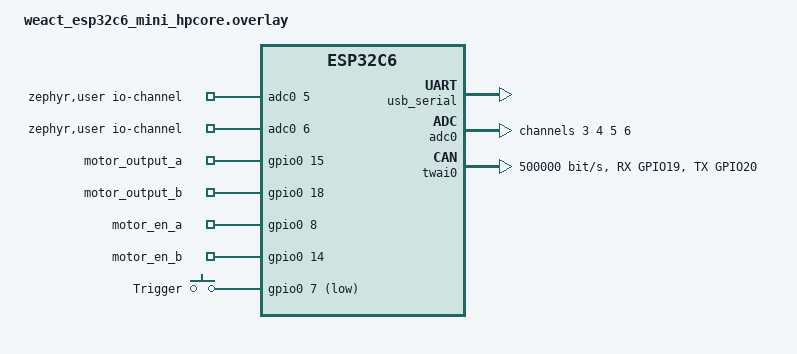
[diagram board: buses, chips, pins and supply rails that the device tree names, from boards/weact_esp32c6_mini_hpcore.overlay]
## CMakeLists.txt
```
# SPDX-License-Identifier: Apache-2.0

cmake_minimum_required(VERSION 3.20.0)

find_package(Zephyr REQUIRED HINTS $ENV{ZEPHYR_BASE})

project(firmware)

# Collect all .src files recursively
file(GLOB_RECURSE app_sources src/*)

target_sources(app PRIVATE ${app_sources})
```

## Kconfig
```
# Private config options for can sample app

# Copyright (c) 2018 Alexander Wachter
# SPDX-License-Identifier: Apache-2.0

mainmenu "Controller Area Network sample application"

config LOOPBACK_MODE
	bool "Loopback LOOPBACK_MODE"
	default y
	help
	  Set the controller to loopback mode.
	  This allows testing without a second board.

source "Kconfig.zephyr"
```

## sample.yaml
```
sample:
  name: CAN driver counter sample
tests:
  sample.drivers.can.counter:
    tags: can
    depends_on: can
    integration_platforms:
      - native_sim
    filter: dt_chosen_enabled("zephyr,canbus") and not dt_compat_enabled("kvaser,pcican")
      and not dt_compat_enabled("infineon,xmc4xxx-can-node")
    harness: console
    harness_config:
      type: one_line
      regex:
        - "Counter received: (.*)"
```

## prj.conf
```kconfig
CONFIG_GPIO=y
CONFIG_INPUT=y
# CONFIG_GPIO_KEYS=y

CONFIG_ADC=y
CONFIG_ADC_STREAM=y

CONFIG_CAN=y
CONFIG_CAN_INIT_PRIORITY=80
CONFIG_CAN_STATS=y
CONFIG_CAN_SHELL=y
CONFIG_CAN_LOG_LEVEL_DBG=y

CONFIG_LOG=y

# Added automatically by Workbench for Zephyr
#--- DEBUG PRESET - BEGIN ---#
# Set to -Og
CONFIG_DEBUG_OPTIMIZATIONS=y
# Thread awareness support
CONFIG_DEBUG_THREAD_INFO=y
# Generate stack usage per-function
CONFIG_STACK_USAGE=y

# Other options in case not set by default
CONFIG_BUILD_OUTPUT_HEX=y
CONFIG_BUILD_OUTPUT_META=y
CONFIG_OUTPUT_SYMBOLS=y
CONFIG_OUTPUT_STAT=y
CONFIG_OUTPUT_DISASSEMBLY=y
CONFIG_OUTPUT_PRINT_MEMORY_USAGE=y
#--- DEBUG PRESET - END ---#

CONFIG_USB_DEVICE_STACK=y
CONFIG_USB_CDC_ACM=y

CONFIG_POLL=y



CONFIG_DEVICE_SHELL=y
CONFIG_SHELL=y
CONFIG_STATS=y

CONFIG_STATS_NAMES=y
CONFIG_STATS_SHELL=y

CONFIG_PWM=y

CONFIG_USB_DEVICE_INITIALIZE_AT_BOOT=y
CONFIG_USB_CDC_ACM=y
CONFIG_LOG_BUFFER_SIZE=1024
```

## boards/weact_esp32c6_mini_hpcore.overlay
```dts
#include <zephyr/dt-bindings/pinctrl/esp32c6-pinctrl.h>
#include <zephyr/dt-bindings/input/input-event-codes.h>
#include <zephyr/dt-bindings/pwm/pwm.h>

/ {
    aliases {
        motor = &motor0;
		motor-output-a = &motor_output_a;
		motor-output-b = &motor_output_b;
		motor-en-a = &motor_en_a;
		motor-en-b = &motor_en_b;
    };
    
    chosen {
        zephyr,console = &usb_serial;
        zephyr,shell-uart = &usb_serial;
    };

    zephyr,user {
        io-channels = <&adc0 5>, <&adc0 6>;
    };

    // TODO: motors (pwm attempt) isn't working properly.
    motors {
        // compatible = "pwm-leds";
        status= "okay";
        pinctrl-0 = <&mcpwm0_default>;
        pinctrl-names = "default";

        motor0: motor0 {
            pwms = <&mcpwm0 0 0 PWM_POLARITY_NORMAL>;
                //    <&mcpwm0 1 PWM_MSEC(20) PWM_POLARITY_NORMAL>;
        };
    };

    h-bridge {
		compatible = "gpio-leds";

        // GP15 -> purple wire -> R_{PWM}
		motor_output_a: motor_output_a {
			gpios = <&gpio0 15 GPIO_ACTIVE_HIGH>;
		};

        // GP18 -> brown wire -> L_{PWM}
        motor_output_b: motor_output_b {
			gpios = <&gpio0 18 GPIO_ACTIVE_HIGH>;
		};

        // GP8 -> green wire -> R_{EN}
		motor_en_a: motor_en_a {
			gpios = <&gpio0 8 GPIO_ACTIVE_HIGH>;
		};

        // GP14 -> blue wire -> L_{EN}
        motor_en_b: motor_en_b {
			gpios = <&gpio0 14 GPIO_ACTIVE_HIGH>;
		};
	};

    buttons {
        compatible = "gpio-keys";

        trigger_button: trigger_button {
            gpios = <&gpio0 7 (GPIO_PULL_UP | GPIO_ACTIVE_LOW)>;
            label = "Trigger";
            zephyr,code = <INPUT_KEY_ENTER>;
        };
    };
};

&pinctrl {
    twai0_default: twai0_default {
        group1 {
            pinmux =
               <TWAI0_RX_GPIO19>,
               //<ESP32_PINMUX(19, ESP_TWAI0_RX, ESP_NOSIG)>,
               <TWAI0_TX_GPIO20>;
               //<ESP32_PINMUX(20, ESP_NOSIG, ESP_TWAI0_TX)>; // TODO: figure out why esp32c6-pinctrl.h isn't being included properly
        };
    };

    mcpwm0_default: mcpwm0_default {
        group1 {
            pinmux = <MCPWM0_OUT0A_GPIO0>;
            // pinmux = <MCPWM0_OUT0A_GPIO18>, // maps to mpwm0 0
            //          <MCPWM0_OUT0B_GPIO19>;  // maps to mpwm0 1
            output-enable;
        };
    };
};

&usb_serial {
    status = "okay";
};

&adc0 {
    status = "okay";
    #address-cells = <1>;
	#size-cells = <0>;
    compatible = "espressif,esp32-adc";
    channel@3 {
        reg = <3>;
        zephyr,gain = "ADC_GAIN_1_4"; 
        zephyr,reference = "ADC_REF_INTERNAL";
        zephyr,vref-mv = <1100>;
        zephyr,acquisition-time = <ADC_ACQ_TIME_DEFAULT>;
        zephyr,resolution = <12>;
	};
    channel@4 {
        reg = <4>;
        zephyr,gain = "ADC_GAIN_1_4";
        zephyr,reference = "ADC_REF_INTERNAL";
        zephyr,vref-mv = <1100>;
        zephyr,acquisition-time = <ADC_ACQ_TIME_DEFAULT>;
        zephyr,resolution = <12>;
	};
    channel@5 {
        reg = <5>;
        zephyr,gain = "ADC_GAIN_1_4"; 
        zephyr,reference = "ADC_REF_INTERNAL";
        zephyr,vref-mv = <1100>;
        zephyr,acquisition-time = <ADC_ACQ_TIME_DEFAULT>;
        zephyr,resolution = <12>;
	};
    channel@6 {
        reg = <6>;
        zephyr,gain = "ADC_GAIN_1_4";
        zephyr,reference = "ADC_REF_INTERNAL";
        zephyr,vref-mv = <1100>;
        zephyr,acquisition-time = <ADC_ACQ_TIME_DEFAULT>;
        zephyr,resolution = <12>;
	};
};

&twai0 {
    status = "okay";
    pinctrl-0 = <&twai0_default>;
    pinctrl-names = "default";
    bitrate = <500000>;
};

&mcpwm0 {
    // status = "okay";
    #address-cells = <1>;
    #size-cells = <0>;
    #pinctrl-names = "default";
    prescale = <0>; // fclk = 80MHz, pwm_clk = fclk / (prescale + 1) = 5MHz
    prescale-timer0 = <0>;
    prescale-timer1 = <0>;
    prescale-timer2 = <0>;
};

&gpio0 {
	status = "okay";
};
```

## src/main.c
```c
/*
 * Copyright (c) 2020 Libre Solar Technologies GmbH
 *
 * SPDX-License-Identifier: Apache-2.0
 */

#include <inttypes.h>
#include <stddef.h>
#include <stdint.h>

#include <zephyr/sys/byteorder.h>
#include <zephyr/device.h>
#include <zephyr/kernel.h>
#include <zephyr/devicetree.h>
#include <zephyr/sys/printk.h>
#include <zephyr/sys/util.h>
#include <zephyr/drivers/can.h>
// #include <zephyr/drivers/gpio.h>
// #include <zephyr/drivers/adc.h>
// #include <zephyr/drivers/pwm.h>
#include <zephyr/logging/log.h>

// #include <zephyr/input/input.h>

#include "joystick.h"
#include "lift.h"
#include "vesc.h"

LOG_MODULE_REGISTER(main, LOG_LEVEL_INF);


#define DT_SPEC_AND_COMMA_FOR_INPUTS(node_id, prop, idx) \
	COND_CODE_1(DT_PHA_HAS_CELL_AT_IDX(node_id, prop, idx, input), \
		    (ADC_DT_SPEC_GET_BY_IDX(node_id, idx),), ())


#define RX_THREAD_STACK_SIZE 512
#define RX_THREAD_PRIORITY 2
#define STATE_POLL_THREAD_STACK_SIZE 512
#define STATE_POLL_THREAD_PRIORITY 2
#define LED_MSG_ID 0x10
#define COUNTER_MSG_ID 0x12345
#define SET_LED 1
#define RESET_LED 0
#define SLEEP_TIME K_MSEC(250)

// K_THREAD_STACK_DEFINE(rx_thread_stack, RX_THREAD_STACK_SIZE);
// K_THREAD_STACK_DEFINE(poll_state_stack, STATE_POLL_THREAD_STACK_SIZE);

const struct device *const can_dev = DEVICE_DT_GET(DT_CHOSEN(zephyr_canbus));

// static const struct pwm_dt_spec pwm_led0 = PWM_DT_SPEC_GET(DT_ALIAS(motor));
// static const struct pwm_dt_spec pwm_led0 = PWM_DT_SPEC_GET(DT_ALIAS(bridge1));
// static const struct gpio_dt_spec led = GPIO_DT_SPEC_GET(LED0_NODE, gpios);

struct k_thread rx_thread_data;
struct k_thread poll_state_thread_data;
struct k_work_poll change_led_work;
struct k_work state_change_work;
enum can_state current_state;
struct can_bus_err_cnt current_err_cnt;

CAN_MSGQ_DEFINE(change_led_msgq, 2);
CAN_MSGQ_DEFINE(counter_msgq, 2);

static struct k_poll_event change_led_events[1] = {
	K_POLL_EVENT_STATIC_INITIALIZER(K_POLL_TYPE_MSGQ_DATA_AVAILABLE,
					K_POLL_MODE_NOTIFY_ONLY,
					&change_led_msgq, 0)
};

void tx_irq_callback(const struct device *dev, int error, void *arg)
{
	char *sender = (char *)arg;

	ARG_UNUSED(dev);

	if (error != 0) {
		printf("Callback! error-code: %d\nSender: %s\n",
		       error, sender);
	}
}

void rx_thread(void *arg1, void *arg2, void *arg3)
{
	ARG_UNUSED(arg1);
	ARG_UNUSED(arg2);
	ARG_UNUSED(arg3);
	const struct can_filter filter = {
		.flags = CAN_FILTER_IDE,
		.id = COUNTER_MSG_ID,
		.mask = CAN_EXT_ID_MASK
	};
	struct can_frame frame;
	int filter_id;

	filter_id = can_add_rx_filter_msgq(can_dev, &counter_msgq, &filter);
	printf("Counter filter id: %d\n", filter_id);

	while (1)
	{
		k_msgq_get(&counter_msgq, &frame, K_FOREVER);

		if (IS_ENABLED(CONFIG_CAN_ACCEPT_RTR) && (frame.flags & CAN_FRAME_RTR) != 0U) {
			continue;
		}

		if (frame.dlc != 2U) {
			printf("Wrong data length: %u\n", frame.dlc);
			continue;
		}

		printf("Counter received: %u\n", sys_be16_to_cpu(UNALIGNED_GET((uint16_t *)&frame.data)));
	}
}

/*
void change_led_work_handler(struct k_work *work)
{
	struct can_frame frame;
	int ret;

	while (k_msgq_get(&change_led_msgq, &frame, K_NO_WAIT) == 0) {
		if (IS_ENABLED(CONFIG_CAN_ACCEPT_RTR) && (frame.flags & CAN_FRAME_RTR) != 0U) {
			continue;
		}

		if (led.port == NULL) {
			printf("LED %s\n", frame.data[0] == SET_LED ? "ON" : "OFF");
		} else {
			gpio_pin_set(led.port, led.pin, frame.data[0] == SET_LED ? 1 : 0);
		}
	}

	ret = k_work_poll_submit(&change_led_work, change_led_events,
				 ARRAY_SIZE(change_led_events), K_FOREVER);
	if (ret != 0) {
		printf("Failed to resubmit msgq polling: %d", ret);
	}
}
*/

char *state_to_str(enum can_state state)
{
	switch (state) {
	case CAN_STATE_ERROR_ACTIVE:
		return "error-active";
	case CAN_STATE_ERROR_WARNING:
		return "error-warning";
	case CAN_STATE_ERROR_PASSIVE:
		return "error-passive";
	case CAN_STATE_BUS_OFF:
		return "bus-off";
	case CAN_STATE_STOPPED:
		return "stopped";
	default:
		return "unknown";
	}
}

void poll_state_thread(void *unused1, void *unused2, void *unused3)
{
	struct can_bus_err_cnt err_cnt = {0, 0};
	struct can_bus_err_cnt err_cnt_prev = {0, 0};
	enum can_state state_prev = CAN_STATE_ERROR_ACTIVE;
	enum can_state state;
	int err;

	while (1) {
		err = can_get_state(can_dev, &state, &err_cnt);
		if (err != 0) {
			printf("Failed to get CAN controller state: %d", err);
			k_sleep(K_MSEC(100));
			continue;
		}

		if (err_cnt.tx_err_cnt != err_cnt_prev.tx_err_cnt ||
		    err_cnt.rx_err_cnt != err_cnt_prev.rx_err_cnt ||
		    state_prev != state) {

			err_cnt_prev.tx_err_cnt = err_cnt.tx_err_cnt;
			err_cnt_prev.rx_err_cnt = err_cnt.rx_err_cnt;
			state_prev = state;
			printf("state: %s\n"
			       "rx error count: %d\n"
			       "tx error count: %d\n",
			       state_to_str(state),
			       err_cnt.rx_err_cnt, err_cnt.tx_err_cnt);
		} else {
			k_sleep(K_MSEC(100));
		}
	}
}

void state_change_work_handler(struct k_work *work)
{
	printf("State Change ISR\nstate: %s\n"
	       "rx error count: %d\n"
	       "tx error count: %d\n",
		state_to_str(current_state),
		current_err_cnt.rx_err_cnt, current_err_cnt.tx_err_cnt);
}

void state_change_callback(const struct device *dev, enum can_state state, struct can_bus_err_cnt err_cnt, void *user_data)
	{
	struct k_work *work = (struct k_work *)user_data;

	ARG_UNUSED(dev);

	current_state = state;
	current_err_cnt = err_cnt;
	k_work_submit(work);
}

void joystick_pressed_cb() {
	static bool state = 0;
	state = !state;
	state ? lift_rise() : lift_lower();
}

void joystick_released_cb() {
	lift_stop();
}

int main(void) {
	int err, ret;
	uint32_t count = 0;

	k_sleep(K_SECONDS(5U));

	lift_init();
	joystick_init(joystick_pressed_cb, joystick_released_cb);

	vesc_init(can_dev);

	while(1)
	{
		int16_t x = 0, y = 0;
		joystick_get_position(&x, &y);
		printk("Joystick position: x = %d mV, y = %d mV\n", x, y);

		k_sleep(K_MSEC(10U));
	}
	return 0; // this should never be reached
}


/*
int main1(void)
{
	const struct can_filter change_led_filter = {
		.flags = 0U,
		.id = LED_MSG_ID,
		.mask = CAN_STD_ID_MASK
	};
	struct can_frame change_led_frame = {
		.flags = 0,
		.id = LED_MSG_ID,
		.dlc = 1
	};
	struct can_frame counter_frame = {
		.flags = CAN_FRAME_IDE,
		.id = COUNTER_MSG_ID,
		.dlc = 2
	};
	uint8_t toggle = 1;
	uint16_t counter = 0;
	k_tid_t rx_tid, get_state_tid;
	int ret;

	if (!device_is_ready(can_dev)) {
		printf("CAN: Device %s not ready.\n", can_dev->name);
		return 0;
	}

#ifdef CONFIG_LOOPBACK_MODE
	ret = can_set_mode(can_dev, CAN_MODE_LOOPBACK);
	if (ret != 0) {
		printf("Error setting CAN mode [%d]", ret);
		return 0;
	}
#endif
	ret = can_start(can_dev);
	if (ret != 0) {
		printf("Error starting CAN controller [%d]", ret);
		return 0;
	}

	if (led.port != NULL) {
		if (!gpio_is_ready_dt(&led)) {
			printf("LED: Device %s not ready.\n",
			       led.port->name);
			return 0;
		}
		ret = gpio_pin_configure_dt(&led, GPIO_OUTPUT_HIGH);
		if (ret < 0) {
			printf("Error setting LED pin to output mode [%d]",
			       ret);
			// led.port = NULL;
		}
	}

	k_work_init(&state_change_work, state_change_work_handler);
	k_work_poll_init(&change_led_work, change_led_work_handler);

	can_set_bitrate(can_dev, 500000);

	ret = can_add_rx_filter_msgq(can_dev, &change_led_msgq, &change_led_filter);
	if (ret == -ENOSPC) {
		printf("Error, no filter available!\n");
		return 0;
	}

	printf("Change LED filter ID: %d\n", ret);

	ret = k_work_poll_submit(&change_led_work, change_led_events,
				 ARRAY_SIZE(change_led_events), K_FOREVER);
	if (ret != 0) {
		printf("Failed to submit msgq polling: %d", ret);
		return 0;
	}

	rx_tid = k_thread_create(&rx_thread_data, rx_thread_stack,
				 K_THREAD_STACK_SIZEOF(rx_thread_stack),
				 rx_thread, NULL, NULL, NULL,
				 RX_THREAD_PRIORITY, 0, K_NO_WAIT);
	if (!rx_tid) {
		printf("ERROR spawning rx thread\n");
	}

	get_state_tid = k_thread_create(&poll_state_thread_data,
					poll_state_stack,
					K_THREAD_STACK_SIZEOF(poll_state_stack),
					poll_state_thread, NULL, NULL, NULL,
					STATE_POLL_THREAD_PRIORITY, 0,
					K_NO_WAIT);
	if (!get_state_tid) {
		printf("ERROR spawning poll_state_thread\n");
	}

	can_set_state_change_callback(can_dev, state_change_callback, &state_change_work);

	printf("Finished init.\n");

	while (1) {
		change_led_frame.data[0] = toggle++ & 0x01 ? SET_LED : RESET_LED;
		// This sending call is none blocking. 
		can_send(can_dev, &change_led_frame, K_FOREVER,
			 tx_irq_callback,
			 "LED change");
		k_sleep(SLEEP_TIME);

		UNALIGNED_PUT(sys_cpu_to_be16(counter),
			      (uint16_t *)&counter_frame.data[0]);
		counter++;
		// This sending call is blocking until the message is sent.
		can_send(can_dev, &counter_frame, K_MSEC(100), NULL, NULL);
		k_sleep(SLEEP_TIME);
	}
}
*/
```

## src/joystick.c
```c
#include "joystick.h"
#include <zephyr/drivers/adc.h>
#include <zephyr/logging/log.h>
#include <zephyr/input/input.h>

LOG_MODULE_REGISTER(joystick, LOG_LEVEL_INF);

#if !DT_NODE_EXISTS(DT_PATH(zephyr_user)) || \
	!DT_NODE_HAS_PROP(DT_PATH(zephyr_user), io_channels)
#error "No suitable devicetree overlay specified"
#endif


/* Data of ADC io-channels specified in devicetree. */
// TODO: this FOREACH doesn't wokr as expected for some reason.
// not nessesary for this codebase since the joystick is expected to have exactly 2 axis.
// static const struct adc_dt_spec adc_channels[] = {
// 	DT_FOREACH_PROP_ELEM(DT_PATH(zephyr_user), io_channels, DT_SPEC_AND_COMMA_FOR_INPUTS)
// };
static const struct adc_dt_spec adc_channels[] = {
    ADC_DT_SPEC_GET_BY_IDX(DT_PATH(zephyr_user), 0),
    ADC_DT_SPEC_GET_BY_IDX(DT_PATH(zephyr_user), 1),
};

uint32_t buf = 0;
struct adc_sequence sequence = {
    .buffer = &buf,
    /* buffer size in bytes, not number of samples */
    .buffer_size = sizeof(buf),
#if CONFIG_SAMPLE_ADC_CALIBRATE_REQUIRED
		.calibrate = true,
#endif
};

void (*_joystick_pressed_cb)();
void (*_joystick_released_cb)();

// 
static void joystick_input_keys_cb(struct input_event *evt, void *user_data)
{
    ARG_UNUSED(user_data);

    if (evt->code == INPUT_KEY_ENTER) {
        if (evt->value)
        {
            _joystick_pressed_cb();
        }
        else
        {
            _joystick_released_cb();
        }
    }
}

INPUT_CALLBACK_DEFINE(NULL, joystick_input_keys_cb, NULL);

// returns 0 on success, 
int joystick_init(void (*joystick_pressed_cb)(void), void (*joystick_released_cb)(void))
{
    _joystick_pressed_cb = joystick_pressed_cb;
    _joystick_released_cb = joystick_released_cb;

    int err = 0;
    
	for (size_t i = 0U; i < ARRAY_SIZE(adc_channels); i++)
    {
        err = adc_is_ready_dt(&adc_channels[i]);
		if (err)
        {
			LOG_ERR("ADC controller device %s not working\n", adc_channels[i].dev->name);
            return err;
		}

		err = adc_channel_setup_dt(&adc_channels[i]);
		if (err < 0)
        {
			LOG_ERR("Could not setup channel #%d (%d)\n", i, err);
            return err;
		}
	}
	return 0;
}

int joystick_get_position(int16_t *x, int16_t *y)
{
	for (size_t i = 0U; i < ARRAY_SIZE(adc_channels); i++)
    {
        int32_t val_mv = 0;
        int err = 0;
    
        LOG_INF("- %s, channel %d: ", adc_channels[i].dev->name, adc_channels[i].channel_id);

        (void)adc_sequence_init_dt(&adc_channels[i], &sequence);

        err = adc_read_dt(&adc_channels[i], &sequence);
        if (err < 0) {
            LOG_ERR("Could not read (%d)", err);
            continue;
        }

        if (adc_channels[i].channel_cfg.differential) {
            val_mv = (int32_t)((int16_t)buf);
        } else {
            val_mv = (int32_t)buf;
        }
        
        LOG_INF("%"PRId32, val_mv);

        err = adc_raw_to_millivolts_dt(&adc_channels[i], &val_mv);
        /* conversion to mV may not be supported, skip if not */
        if (err < 0) {
            LOG_ERR(" (value in mV not available)");
        } else {
            LOG_INF(" = %"PRId32" mV", val_mv);
        }

        if(i == 0) *x = val_mv;
        else if(i == 1) *y = val_mv;
        else return 0;
    }
    return 0;
}
```

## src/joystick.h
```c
#pragma once
#include <stdint.h>

int joystick_init(void (*joystick_pressed_cb)(), void (*joystick_released_cb)());

int joystick_get_position(int16_t *x, int16_t *y);
```

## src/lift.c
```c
#include "lift.h"
#include <zephyr/drivers/gpio.h>
#include <zephyr/logging/log.h>
LOG_MODULE_REGISTER(lift, LOG_LEVEL_INF);

static const struct gpio_dt_spec motor_output_a = GPIO_DT_SPEC_GET(DT_ALIAS(motor_output_a), gpios);
static const struct gpio_dt_spec motor_output_b = GPIO_DT_SPEC_GET(DT_ALIAS(motor_output_b), gpios);
static const struct gpio_dt_spec motor_en_a = GPIO_DT_SPEC_GET(DT_ALIAS(motor_en_a), gpios);
static const struct gpio_dt_spec motor_en_b = GPIO_DT_SPEC_GET(DT_ALIAS(motor_en_b), gpios);

int _gpio_setup(const struct gpio_dt_spec * gpio, gpio_flags_t extra_fags)
{
	int ret;
	ret = gpio_is_ready_dt(gpio);
	if (ret < 0)
	{
		return ret;
	}
	
	gpio_pin_configure_dt(gpio, extra_fags);
	return 0; // SUCCess
}

int lift_init()
{
	int ret;
	_gpio_setup(&motor_output_a, GPIO_OUTPUT_INACTIVE);
	_gpio_setup(&motor_output_b, GPIO_OUTPUT_INACTIVE);
	_gpio_setup(&motor_en_a, GPIO_OUTPUT_ACTIVE);
	_gpio_setup(&motor_en_b, GPIO_OUTPUT_ACTIVE);
    return 0;
}

int lift_rise()
{
	int ret = 0;
	ret = gpio_pin_set_dt(&motor_output_a, 1);
	if (ret < 0) {
		return ret;
	}
	ret = gpio_pin_set_dt(&motor_output_b, 0);
	if (ret < 0) {
		return ret;
	}
	LOG_INF("Lift rising\n");
	return 0;
}

int lift_lower()
{
	int ret = 0;
	gpio_pin_set_dt(&motor_output_a, 0);
	if (ret < 0) {
		return ret;
	}
	gpio_pin_set_dt(&motor_output_b, 1);
	if (ret < 0) {
		return ret;
	}
	LOG_INF("Lift lowering\n");
	return 0;
}

int lift_stop()
{
	int ret = 0;
	ret = gpio_pin_set_dt(&motor_output_a, 0);
	if (ret < 0) {
		return ret;
	}
	ret = gpio_pin_set_dt(&motor_output_b, 0);
	if (ret < 0) {
		return ret;
	}
	LOG_INF("Lift stopped\n");
	return 0;
}
```

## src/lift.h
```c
#pragma once

int lift_init();
int lift_rise();
int lift_lower();
int lift_stop();
```

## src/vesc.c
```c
#include <stddef.h>
#include <zephyr/drivers/can.h>
#include <zephyr/logging/log.h>
#include "vesc.h"

LOG_MODULE_REGISTER(vesc, LOG_LEVEL_INF);

const struct device * _can_dev = NULL;

int vesc_init(const struct device * can_dev) {
    _can_dev = can_dev;

    if (!device_is_ready(_can_dev)) {
		printf("CAN: Device %s not ready.\n", _can_dev->name);
		return 0;
	}

	int ret = can_start(_can_dev);
	if (ret != 0) {
		printf("Error starting CAN controller [%d]", ret);
		return 0;
	}
}

// Implementation for sending extended ID CAN-frames
void can_transmit_eid(uint32_t id, const uint8_t *data, uint8_t len) {

    can_mode_t saved_can_mode = can_get_mode(_can_dev);

    can_set_mode(_can_dev, CAN_MODE_NORMAL | CAN_MODE_ONE_SHOT);

    struct can_frame frame = {
        .flags = CAN_FRAME_IDE,
        .id = 0x123,
        .dlc = len,
        .data = (unsigned char) &data
    };

    int ret = can_send(_can_dev, &frame, K_NO_WAIT, NULL, NULL);

    if (ret != 0)
    {
        LOG_ERR("Sending failed [%d]", ret);
    }

    can_set_mode(_can_dev, saved_can_mode);
}

typedef enum {
	CAN_PACKET_SET_DUTY = 0,
	CAN_PACKET_SET_CURRENT,
	CAN_PACKET_SET_CURRENT_BRAKE,
	CAN_PACKET_SET_RPM,
	CAN_PACKET_SET_POS,
	CAN_PACKET_SET_CURRENT_REL = 10,
	CAN_PACKET_SET_CURRENT_BRAKE_REL,
	CAN_PACKET_SET_CURRENT_HANDBRAKE,
	CAN_PACKET_SET_CURRENT_HANDBRAKE_REL,
	CAN_PACKET_MAKE_ENUM_32_BITS = 0xFFFFFFFF,
} CAN_PACKET_ID;

void buffer_append_int16(uint8_t* buffer, int16_t number, int32_t *index) {
	buffer[(*index)++] = number >> 8;
	buffer[(*index)++] = number;
}

void buffer_append_int32(uint8_t* buffer, int32_t number, int32_t *index) {
	buffer[(*index)++] = number >> 24;
	buffer[(*index)++] = number >> 16;
	buffer[(*index)++] = number >> 8;
	buffer[(*index)++] = number;
}

void buffer_append_float16(uint8_t* buffer, float number, float scale, int32_t *index) {
    buffer_append_int16(buffer, (int16_t)(number * scale), index);
}

void buffer_append_float32(uint8_t* buffer, float number, float scale, int32_t *index) {
    buffer_append_int32(buffer, (int32_t)(number * scale), index);
}

void vesc_set_duty(uint8_t controller_id, float duty) {
	int32_t send_index = 0;
	uint8_t buffer[4];
	buffer_append_int32(buffer, (int32_t)(duty * 100000.0), &send_index);
	can_transmit_eid(controller_id |
			((uint32_t)CAN_PACKET_SET_DUTY << 8), buffer, send_index);
}

void vesc_set_current(uint8_t controller_id, float current) {
	int32_t send_index = 0;
	uint8_t buffer[4];
	buffer_append_int32(buffer, (int32_t)(current * 1000.0), &send_index);
	can_transmit_eid(controller_id |
			((uint32_t)CAN_PACKET_SET_CURRENT << 8), buffer, send_index);
}

void vesc_set_current_off_delay(uint8_t controller_id, float current, float off_delay) {
	int32_t send_index = 0;
	uint8_t buffer[6];
	buffer_append_int32(buffer, (int32_t)(current * 1000.0), &send_index);
	buffer_append_float16(buffer, off_delay, 1e3, &send_index);
	can_transmit_eid(controller_id |
			((uint32_t)CAN_PACKET_SET_CURRENT << 8), buffer, send_index);
}

void vesc_set_current_brake(uint8_t controller_id, float current) {
	int32_t send_index = 0;
	uint8_t buffer[4];
	buffer_append_int32(buffer, (int32_t)(current * 1000.0), &send_index);
	can_transmit_eid(controller_id |
			((uint32_t)CAN_PACKET_SET_CURRENT_BRAKE << 8), buffer, send_index);
}

void vesc_set_rpm(uint8_t controller_id, float rpm) {
	int32_t send_index = 0;
	uint8_t buffer[4];
	buffer_append_int32(buffer, (int32_t)rpm, &send_index);
	can_transmit_eid(controller_id |
			((uint32_t)CAN_PACKET_SET_RPM << 8), buffer, send_index);
}

void vesc_set_pos(uint8_t controller_id, float pos) {
	int32_t send_index = 0;
	uint8_t buffer[4];
	buffer_append_int32(buffer, (int32_t)(pos * 1000000.0), &send_index);
	can_transmit_eid(controller_id |
			((uint32_t)CAN_PACKET_SET_POS << 8), buffer, send_index);
}

void vesc_set_current_rel(uint8_t controller_id, float current_rel) {
	int32_t send_index = 0;
	uint8_t buffer[4];
	buffer_append_float32(buffer, current_rel, 1e5, &send_index);
	can_transmit_eid(controller_id |
			((uint32_t)CAN_PACKET_SET_CURRENT_REL << 8), buffer, send_index);
}

/**
 * Same as above, but also sets the off delay. Note that this command uses 6 bytes now. The off delay is useful to set to keep the current controller running for a while even after setting currents below the minimum current.
 */
void vesc_set_current_rel_off_delay(uint8_t controller_id, float current_rel, float off_delay) {
	int32_t send_index = 0;
	uint8_t buffer[6];
	buffer_append_float32(buffer, current_rel, 1e5, &send_index);
	buffer_append_float16(buffer, off_delay, 1e3, &send_index);
	can_transmit_eid(controller_id |
			((uint32_t)CAN_PACKET_SET_CURRENT_REL << 8), buffer, send_index);
}

void vesc_set_current_brake_rel(uint8_t controller_id, float current_rel) {
	int32_t send_index = 0;
	uint8_t buffer[4];
	buffer_append_float32(buffer, current_rel, 1e5, &send_index);
	can_transmit_eid(controller_id |
			((uint32_t)CAN_PACKET_SET_CURRENT_BRAKE_REL << 8), buffer, send_index);
}

void vesc_set_handbrake(uint8_t controller_id, float current) {
	int32_t send_index = 0;
	uint8_t buffer[4];
	buffer_append_float32(buffer, current, 1e3, &send_index);
	can_transmit_eid(controller_id |
			((uint32_t)CAN_PACKET_SET_CURRENT_HANDBRAKE << 8), buffer, send_index);
}

void vesc_set_handbrake_rel(uint8_t controller_id, float current_rel) {
	int32_t send_index = 0;
	uint8_t buffer[4];
	buffer_append_float32(buffer, current_rel, 1e5, &send_index);
	can_transmit_eid(controller_id |
			((uint32_t)CAN_PACKET_SET_CURRENT_HANDBRAKE_REL << 8), buffer, send_index);
}
```

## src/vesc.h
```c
#pragma once
#include <stdint.h>
#include <inttypes.h>

/*
simple CAN wrapper library for interfacing VESC,
taken from https://github.com/UESTC-LIMITI/VESC/blob/master/documentation/comm_can.md.
Uses CAN internally
*/

int vesc_init(const struct device * can_dev);
void vesc_set_duty(uint8_t controller_id, float duty);
void vesc_set_current(uint8_t controller_id, float current);
void vesc_set_current_off_delay(uint8_t controller_id, float current, float off_delay);
void vesc_set_current_brake(uint8_t controller_id, float current);
void vesc_set_rpm(uint8_t controller_id, float rpm);
void vesc_set_pos(uint8_t controller_id, float pos);
void vesc_set_current_rel(uint8_t controller_id, float current_rel);
/**
 * Same as above, but also sets the off delay. Note that this command uses 6 bytes now. The off delay is useful to set to keep the current controller running for a while even after setting currents below the minimum current.
 */
void vesc_set_current_rel_off_delay(uint8_t controller_id, float current_rel, float off_delay);
void vesc_set_current_brake_rel(uint8_t controller_id, float current_rel);
void vesc_set_handbrake(uint8_t controller_id, float current);
void vesc_set_handbrake_rel(uint8_t controller_id, float current_rel);
```
